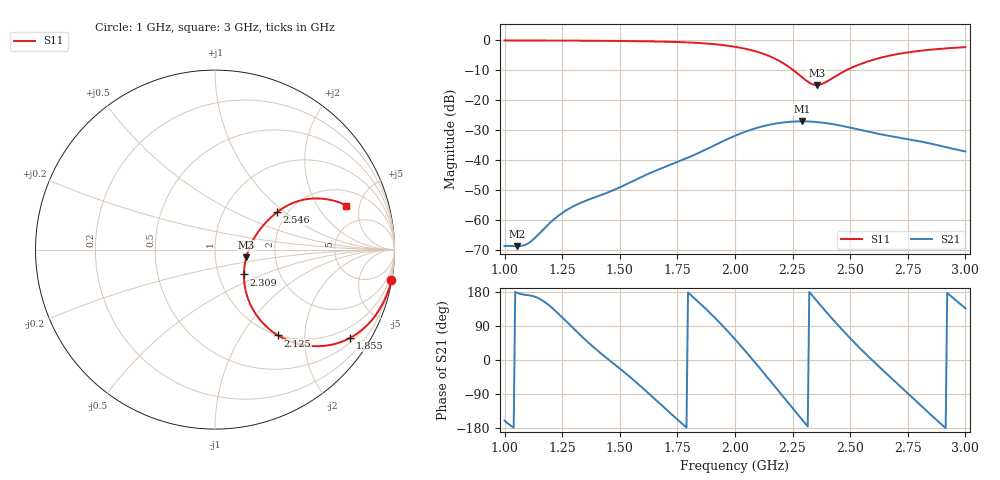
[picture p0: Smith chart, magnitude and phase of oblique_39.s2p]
! TOUCHSTONE file generated by CST MICROWAVE STUDIO
! Date and time: Tue Mar 18 00:01:02 2025
! Project name: oblique.cst
! Parameters = {Tilt=30; Fracture=1; B=10; D=160; F=25; Feed=2.85625; L=100; M=10; R=0.384908; S=1; Theta=270; length=57.125; wave=114.25}
! Header version: 2024
! Port assignment regex: !\s*Touchstone port\s*([0-9]+)\s*=\s*(CST MWS port|CST DES external port|CST DES block port)\s*(.+)\s* \(\"(.*)\"\)(\s*mode\s*([0-9]+))?.*
! Touchstone port assignment:
! Touchstone port 1 = CST MWS port 1 ("")
! Touchstone port 2 = CST MWS port 2 ("")
# GHz S DB R 50
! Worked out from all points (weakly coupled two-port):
!   305 points, 1 GHz to 3 GHz, reference 50 ohm
!   highest |S21| = -27.08 dB at 2.289 GHz (marker M1); lowest = -68.8 dB at 1.053 GHz (marker M2)
!   lowest |S11| = -14.9 dB at 2.355 GHz (marker M3), VSWR 1.44, Z = 70.7 - j6.33 ohm
!   |S11| at or under -10 dB: 2.254 GHz to 2.482 GHz (228.8 MHz wide, 9.66 % of centre)
!   S12 and S22 are empty: the file has one direction only
!   S11 on the Smith chart (normalised r, x): 1 GHz: 0, -12; 1.855 GHz: 0.63, -3.23; 2.125 GHz: 1.00, -1.47; 2.309 GHz: 1.32, -0.38; 2.546 GHz: 1.78, +0.88; 3 GHz: 3.06, +3.70
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1  -0.02 -9.8  -68.77 -160.0  -200.00 0.0  -200.00 0.0
1.05263  -0.03 -10.5  -68.82 177.7  -200.00 0.0  -200.00 0.0
1.10526  -0.03 -11.3  -67.73 170.7  -200.00 0.0  -200.00 0.0
1.23026  -0.06 -13.3  -58.83 124.0  -200.00 0.0  -200.00 0.0
1.28289  -0.08 -14.2  -56.12 92.8  -200.00 0.0  -200.00 0.0
1.33553  -0.09 -15.2  -54.14 61.8  -200.00 0.0  -200.00 0.0
1.47368  -0.17 -18.3  -50.04 -9.8  -200.00 0.0  -200.00 0.0
1.67105  -0.38 -24.4  -43.08 -113.6  -200.00 0.0  -200.00 0.0
1.85526  -0.93 -33.3  -37.15 145.3  -200.00 0.0  -200.00 0.0
2  -2.14 -43.6  -31.90 54.7  -200.00 0.0  -200.00 0.0
2.125  -4.53 -53.7  -28.64 -34.4  -200.00 0.0  -200.00 0.0
2.21053  -7.68 -57.7  -27.43 -97.8  -200.00 0.0  -200.00 0.0
2.28947  -12.25 -48.1  -27.08 -156.3  -200.00 0.0  -200.00 0.0
2.30921  -13.45 -40.7  -27.10 -170.8  -200.00 0.0  -200.00 0.0
2.33553  -14.64 -26.5  -27.19 170.0  -200.00 0.0  -200.00 0.0
2.35526  -14.93 -14.0  -27.31 155.8  -200.00 0.0  -200.00 0.0
2.38816  -14.19 4.9  -27.59 132.5  -200.00 0.0  -200.00 0.0
2.44737  -11.47 23.2  -28.33 91.8  -200.00 0.0  -200.00 0.0
2.54605  -7.88 31.1  -29.97 28.8  -200.00 0.0  -200.00 0.0
2.67105  -5.09 29.7  -31.96 -43.5  -200.00 0.0  -200.00 0.0
2.82895  -3.27 24.1  -34.17 -132.8  -200.00 0.0  -200.00 0.0
3  -2.26 18.5  -37.14 136.4  -200.00 0.0  -200.00 0.0
